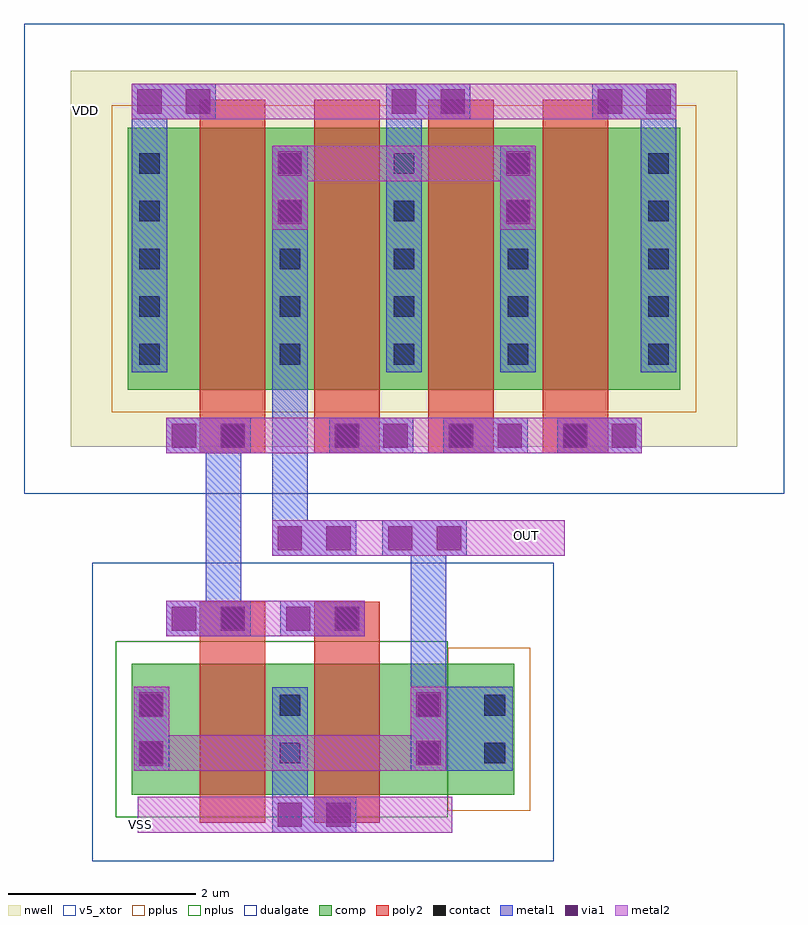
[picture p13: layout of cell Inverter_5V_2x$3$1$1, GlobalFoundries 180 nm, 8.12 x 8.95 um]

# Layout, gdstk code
import gdstk
lib = gdstk.Library(unit=1e-6, precision=5e-09)
def R(c, l, rs):  # rectangles x0, y0, x1, y1
    for r in rs: c.add(gdstk.rectangle(r[:2], r[2:], *l))
def A(c, l, x, y, w, h, nx, ny, dx, dy):  # array of equal rectangles
    R(c, l, [(x+i*dx, y+j*dy, x+i*dx+w, y+j*dy+h) for i in range(nx) for j in range(ny)])
nwell = (21, 0)
comp = (22, 0)
poly2 = (30, 0)
pplus = (31, 0)
nplus = (32, 0)
contact = (33, 0)
metal1 = (34, 0)
via1 = (35, 0)
metal2 = (36, 0)
dualgate = (55, 0)
v5_xtor = (112, 1)

nfet_12 = lib.new_cell('nfet$12')
R(nfet_12, comp, [(-0.42,0,0,1.4), (0,0,2.54,1.4), (2.54,0,2.96,1.4), (2.96,0,3.67,1.4)])
R(nfet_12, poly2, [(0.31,-0.3,1.01,1.7), (1.53,-0.3,2.23,1.7), (0.31,1.7,1.01,2.06), (1.53,1.7,2.23,2.06)])
R(nfet_12, pplus, [(2.96,-0.17,3.84,1.57)])
R(nfet_12, nplus, [(-0.59,-0.24,2.96,1.64)])
A(nfet_12, contact, -0.32, 0.335, 0.22, 0.22, 3, 2, 1.48, 0.51)
R(nfet_12, contact, [(3.35,0.335,3.57,0.555), (3.35,0.845,3.57,1.065), (0.55,1.77,0.77,1.99), (1.77,1.77,1.99,1.99)])
A(nfet_12, metal1, -0.4, 0.255, 0.38, 0.89, 3, 1, 1.48, 0)
R(nfet_12, metal1, [(3.27,0.255,3.65,1.145), (0.47,1.69,0.85,2.07), (1.69,1.69,2.07,2.07)])
R(nfet_12, dualgate, [(-0.84,-0.71,4.09,2.48)])
R(nfet_12, v5_xtor, [(-0.84,-0.71,4.09,2.48)])

pfet_3_8 = lib.new_cell('pfet$3$8')
R(pfet_3_8, nwell, [(-1.07,-0.61,6.05,3.41)])
R(pfet_3_8, comp, [(-0.46,0,0,2.8), (0,0,4.98,2.8), (4.98,0,5.44,2.8)])
A(pfet_3_8, poly2, 0.31, -0.68, 0.7, 0.38, 4, 1, 1.22, 0)
A(pfet_3_8, poly2, 0.31, -0.3, 0.7, 3.4, 4, 1, 1.22, 0)
R(pfet_3_8, pplus, [(-0.63,-0.24,5.61,3.04)])
A(pfet_3_8, contact, 0.55, -0.6, 0.22, 0.22, 4, 1, 1.22, 0)
A(pfet_3_8, contact, -0.34, 0.27, 0.22, 0.22, 1, 5, 0, 0.51)
A(pfet_3_8, contact, 1.16, 0.27, 0.22, 0.22, 3, 5, 1.22, 0.51)
A(pfet_3_8, contact, 5.1, 0.27, 0.22, 0.22, 1, 5, 0, 0.51)
A(pfet_3_8, metal1, 0.47, -0.68, 0.38, 0.38, 4, 1, 1.22, 0)
A(pfet_3_8, metal1, 1.08, 0.19, 0.38, 2.42, 3, 1, 1.22, 0)
R(pfet_3_8, metal1, [(-0.42,0.19,-0.04,2.61), (5.02,0.19,5.4,2.61)])
R(pfet_3_8, dualgate, [(-1.57,-1.11,6.55,3.91), (-0.88,-1.09,5.86,3.51)])
R(pfet_3_8, v5_xtor, [(-1.57,-1.11,6.55,3.91), (-0.88,-1.09,5.86,3.51)])

inverter_5v_2x_3_1_1 = lib.new_cell('Inverter_5V_2x$3$1$1')
A(inverter_5v_2x_3_1_1, metal1, 2.9, 4.05, 0.9, 0.38, 3, 1, 1.22, 0)
R(inverter_5v_2x_3_1_1, metal1, [(2.29,0,3.19,0.38), (0.81,0.66,1.19,1.56), (3.77,0.66,4.86,1.56), (3.77,0.66,4.15,1.56), (1.16,2.095,2.06,2.475), (2.38,2.095,3.28,2.475), (2.29,2.955,3.19,3.335), (3.47,2.955,4.37,3.335), (1.16,4.05,2.06,4.43), (2.29,6.44,2.67,7.34), (4.73,6.44,5.11,7.34), (0.79,7.62,1.69,8), (3.51,7.62,4.41,8), (5.71,7.62,6.61,8)])
R(inverter_5v_2x_3_1_1, via1, [(2.35,0.06,2.61,0.32), (2.87,0.06,3.13,0.32), (0.87,0.715,1.13,0.975), (3.83,0.72,4.09,0.98), (0.87,1.24,1.13,1.5), (3.83,1.24,4.09,1.5), (1.22,2.155,1.48,2.415), (1.74,2.155,2,2.415), (2.44,2.155,2.7,2.415), (2.96,2.155,3.22,2.415), (2.35,3.015,2.61,3.275), (2.87,3.015,3.13,3.275), (3.53,3.015,3.79,3.275), (4.05,3.015,4.31,3.275), (1.22,4.11,1.48,4.37), (1.74,4.11,2,4.37), (2.96,4.11,3.22,4.37), (3.48,4.11,3.74,4.37), (4.18,4.11,4.44,4.37), (4.7,4.11,4.96,4.37), (5.4,4.11,5.66,4.37), (5.92,4.11,6.18,4.37), (2.35,6.5,2.61,6.76), (4.79,6.5,5.05,6.76), (2.35,7.02,2.61,7.28), (4.79,7.02,5.05,7.28), (0.85,7.68,1.11,7.94), (1.37,7.68,1.63,7.94), (3.57,7.68,3.83,7.94), (4.09,7.68,4.35,7.94), (5.77,7.68,6.03,7.94), (6.29,7.68,6.55,7.94)])
A(inverter_5v_2x_3_1_1, metal2, 2.9, 4.05, 0.9, 0.38, 3, 1, 1.22, 0)
R(inverter_5v_2x_3_1_1, metal2, [(2.29,0,3.19,0.38), (0.81,0.66,1.19,1.56), (3.77,0.66,4.15,1.56), (1.16,2.095,2.06,2.475), (2.38,2.095,3.28,2.475), (2.29,2.955,3.19,3.335), (3.47,2.955,4.37,3.335), (1.16,4.05,2.06,4.43), (2.29,6.44,2.67,7.34), (4.73,6.44,5.11,7.34), (0.79,7.62,1.69,8), (3.51,7.62,4.41,8), (5.71,7.62,6.61,8)])
inverter_5v_2x_3_1_1.add(gdstk.FlexPath([(0.98,4.92),(0.98,8)], 0.38, ends="flush", simple_path=True, layer=34, datatype=0))  # metal1
inverter_5v_2x_3_1_1.add(gdstk.FlexPath([(1.77,2.095),(1.77,4.43)], 0.38, ends="flush", simple_path=True, layer=34, datatype=0))  # metal1
inverter_5v_2x_3_1_1.add(gdstk.FlexPath([(2.48,1.55),(2.48,0)], 0.38, ends="flush", simple_path=True, layer=34, datatype=0))  # metal1
inverter_5v_2x_3_1_1.add(gdstk.FlexPath([(6.42,4.92),(6.42,8)], 0.38, ends="flush", simple_path=True, layer=34, datatype=0))  # metal1
inverter_5v_2x_3_1_1.add(gdstk.FlexPath([(3.7,4.92),(3.7,8)], 0.38, ends="flush", simple_path=True, layer=34, datatype=0))  # metal1
inverter_5v_2x_3_1_1.add(gdstk.FlexPath([(3.96,0.66),(3.96,3.335)], 0.38, ends="flush", simple_path=True, layer=34, datatype=0))  # metal1
inverter_5v_2x_3_1_1.add(gdstk.FlexPath([(2.48,7.34),(2.48,2.955)], 0.38, ends="flush", simple_path=True, layer=34, datatype=0))  # metal1
inverter_5v_2x_3_1_1.add(gdstk.FlexPath([(2.29,3.145),(5.415,3.145)], 0.38, ends="flush", simple_path=True, layer=36, datatype=0))  # metal2
inverter_5v_2x_3_1_1.add(gdstk.FlexPath([(0.79,7.81),(6.61,7.81)], 0.38, ends="flush", simple_path=True, layer=36, datatype=0))  # metal2
inverter_5v_2x_3_1_1.add(gdstk.FlexPath([(4.215,0.19),(0.855,0.19)], 0.38, ends="flush", simple_path=True, layer=36, datatype=0))  # metal2
inverter_5v_2x_3_1_1.add(gdstk.FlexPath([(2.29,7.15),(5.11,7.15)], 0.38, ends="flush", simple_path=True, layer=36, datatype=0))  # metal2
inverter_5v_2x_3_1_1.add(gdstk.FlexPath([(0.81,0.85),(4.15,0.85)], 0.38, ends="flush", simple_path=True, layer=36, datatype=0))  # metal2
inverter_5v_2x_3_1_1.add(gdstk.FlexPath([(1.68,2.285),(3.28,2.285)], 0.38, ends="flush", simple_path=True, layer=36, datatype=0))  # metal2
inverter_5v_2x_3_1_1.add(gdstk.FlexPath([(1.68,4.24),(5.72,4.24)], 0.38, ends="flush", simple_path=True, layer=36, datatype=0))  # metal2
inverter_5v_2x_3_1_1.add(gdstk.Reference(nfet_12, (1.21,0.405)))
inverter_5v_2x_3_1_1.add(gdstk.Reference(pfet_3_8, (1.21,4.73)))
inverter_5v_2x_3_1_1.add(gdstk.Label('VSS', (0.89,0.085), layer=34, texttype=10))
inverter_5v_2x_3_1_1.add(gdstk.Label('VDD', (0.295,7.715), layer=34, texttype=10))
inverter_5v_2x_3_1_1.add(gdstk.Label('OUT', (5.01,3.17), layer=36, texttype=10))

lib.write_gds('Inverter_5V_2x_3_1_1.gds')
